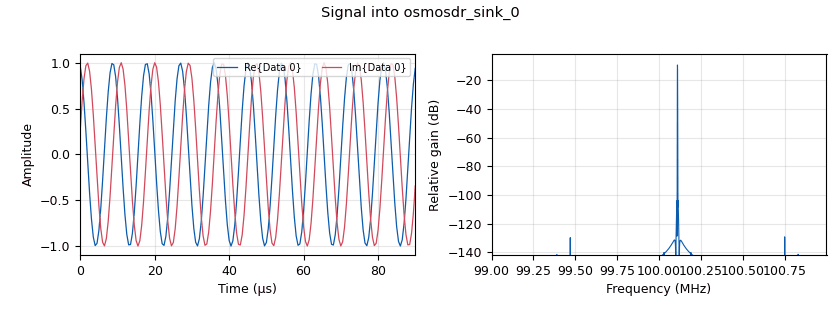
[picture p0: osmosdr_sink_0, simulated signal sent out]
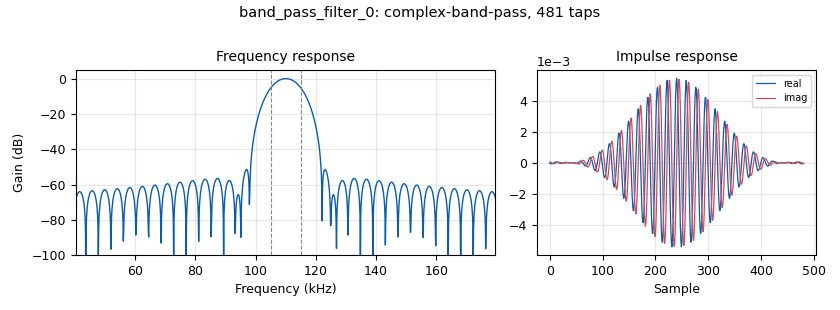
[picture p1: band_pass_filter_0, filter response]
options:
  parameters:
    generate_options: qt_gui
    id: filtering
    output_language: python
    title: Not titled yet
  states: {}

blocks:
- name: LO_Range
  id: variable_qtgui_range
  parameters:
    orient: Qt.Horizontal
    start: '-200e3'
    step: 10e3
    stop: 200e3
    value: '0'
  states: {}
- name: LO_Range
  id: variable_qtgui_range
  parameters:
    orient: Qt.Horizontal
    start: 80e6
    step: 1e6
    stop: 130e6
    value: 90e6
  states: {state: disabled}
- name: RX_Gain
  id: variable_qtgui_range
  parameters:
    orient: Qt.Horizontal
    start: '0'
    step: '10'
    stop: '100'
    value: '70'
  states: {}
- name: TX_Gain
  id: variable_qtgui_range
  parameters:
    orient: Qt.Horizontal
    start: '0'
    step: '10'
    stop: '100'
    value: '70'
  states: {}
- name: center_freq
  id: variable
  parameters:
    value: 100e6
  states: {}
- name: samp_rate
  id: variable
  parameters:
    value: 2e6
  states: {}
- name: analog_sig_source_x_0
  id: analog_sig_source_x
  parameters:
    amp: '1'
    freq: 110e3
    offset: '0'
    phase: '0'
    samp_rate: samp_rate
    type: complex
    waveform: analog.GR_COS_WAVE
  states: {}
- name: analog_sig_source_x_0_0
  id: analog_sig_source_x
  parameters:
    amp: '1'
    freq: LO_Range
    offset: '0'
    phase: '0'
    samp_rate: samp_rate
    type: complex
    waveform: analog.GR_COS_WAVE
  states: {}
- name: band_pass_filter_0
  id: band_pass_filter
  parameters:
    decim: '1'
    gain: '1'
    high_cutoff_freq: 115e3+LO_Range
    low_cutoff_freq: 105e3+LO_Range
    samp_rate: samp_rate
    type: fir_filter_ccc
    width: 10e3
    win: firdes.WIN_HAMMING
  states: {}
- name: blocks_multiply_xx_0
  id: blocks_multiply_xx
  parameters:
    type: complex
  states: {}
- name: low_pass_filter_0
  id: low_pass_filter
  parameters:
    cutoff_freq: 150e3
    decim: '2'
    gain: '1'
    samp_rate: samp_rate
    type: fir_filter_ccf
    width: 20e3
    win: firdes.WIN_HAMMING
  states: {state: disabled}
- name: osmosdr_sink_0
  id: osmosdr_sink
  parameters:
    bb_gain0: '20'
    bw0: samp_rate
    freq0: center_freq
    gain0: TX_Gain
    if_gain0: '20'
    sample_rate: samp_rate
    sync: sync
    type: fc32
  states: {}
- name: qtgui_freq_sink_x_0
  id: qtgui_freq_sink_x
  parameters:
    bw: samp_rate
    ctrlpanel: 'True'
    fc: center_freq-LO_Range
    fftsize: '4086'
    type: complex
    wintype: firdes.WIN_BLACKMAN_hARRIS
  states: {}
- name: qtgui_time_sink_x_0
  id: qtgui_time_sink_x
  parameters:
    ctrlpanel: 'True'
    size: '1024'
    srate: samp_rate
    type: complex
  states: {}
- name: uhd_usrp_source_0
  id: uhd_usrp_source
  parameters:
    ant0: RX2
    bw0: samp_rate
    center_freq0: center_freq
    clock_rate: 30.72e6
    dc_offs_enb0: '""'
    dev_args: '""'
    gain0: RX_Gain
    iq_imbal_enb0: '""'
    norm_gain0: 'False'
    samp_rate: samp_rate
    sync: none
    type: fc32
  states: {}

connections:
- [analog_sig_source_x_0, '0', osmosdr_sink_0, '0']
- [analog_sig_source_x_0_0, '0', blocks_multiply_xx_0, '1']
- [band_pass_filter_0, '0', qtgui_freq_sink_x_0, '0']
- [band_pass_filter_0, '0', qtgui_time_sink_x_0, '0']
- [blocks_multiply_xx_0, '0', band_pass_filter_0, '0']
- [low_pass_filter_0, '0', qtgui_freq_sink_x_0, '0']
- [uhd_usrp_source_0, '0', blocks_multiply_xx_0, '0']

metadata:
  file_format: 1
